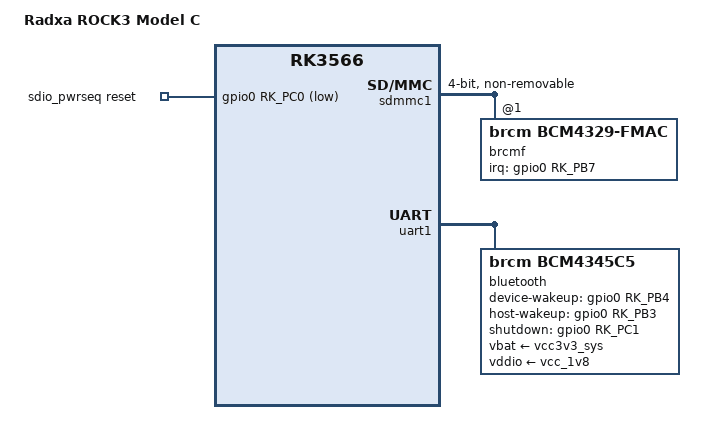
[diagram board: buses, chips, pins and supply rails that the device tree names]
// SPDX-License-Identifier: (GPL-2.0+ OR MIT)
/*
 * Copyright (c) 2020 Rockchip Electronics Co., Ltd.
 * Copyright (c) 2022 Radxa Computer (Shenzhen) Co., Ltd.
 *
 */

/dts-v1/;

#include "rk3566-rock-3c.dtsi"

/ {
	model = "Radxa ROCK3 Model C";
	compatible = "radxa,rock-3c-ap6256", "radxa,rock-3c", "rockchip,rk3566";

	sdio_pwrseq: sdio-pwrseq {
		compatible = "mmc-pwrseq-simple";
		clocks = <&rk809 1>;
		clock-names = "ext_clock";
		pinctrl-names = "default";
		pinctrl-0 = <&wifi_enable_h>;
		/*
		 * On the module itself this is one of these (depending
		 * on the actual card populated):
		 * - SDIO_RESET_L_WL_REG_ON
		 * - PDN (power down when low)
		 */
		reset-gpios = <&gpio0 RK_PC0 GPIO_ACTIVE_LOW>;
	};
};

&sdmmc1 {
	max-frequency = <100000000>;
	supports-sdio;
	bus-width = <4>;
	disable-wp;
	cap-sd-highspeed;
	cap-sdio-irq;
	keep-power-in-suspend;
	non-removable;
	rockchip,default-sample-phase=<90>;
	mmc-pwrseq = <&sdio_pwrseq>;
	non-removable;
	pinctrl-names = "default";
	pinctrl-0 = <&sdmmc1_bus4 &sdmmc1_cmd &sdmmc1_clk>;
	sd-uhs-sdr104;
	status = "okay";
	#address-cells = <1>;
	#size-cells = <0>;

	brcmf: wifi@1 {
		compatible = "brcm,bcm4329-fmac";
		reg = <1>;
		interrupt-parent = <&gpio0>;
		interrupts = <RK_PB7 IRQ_TYPE_LEVEL_HIGH>;
		interrupt-names = "host-wake";
		pinctrl-names = "default";
		pinctrl-0 = <&wifi_host_wake_l>;
	};
};

&uart1 {
	status = "okay";
	pinctrl-names = "default";
	pinctrl-0 = <&uart1m0_xfer &uart1m0_ctsn &uart1m0_rtsn>;

	bluetooth {
		compatible = "brcm,bcm4345c5";
		clocks = <&rk809 1>;
		clock-names = "lpo";
		device-wakeup-gpios = <&gpio0 RK_PB4 GPIO_ACTIVE_HIGH>;
		host-wakeup-gpios = <&gpio0 RK_PB3 GPIO_ACTIVE_HIGH>;
		shutdown-gpios = <&gpio0 RK_PC1 GPIO_ACTIVE_HIGH>;
		max-speed = <1500000>;
		pinctrl-names = "default";
		pinctrl-0 = <&bt_host_wake_l &bt_wake_l &bt_enable_h>;
		vbat-supply = <&vcc3v3_sys>;
		vddio-supply = <&vcc_1v8>;
	};
};

&pinctrl {
	wifi {
		wifi_enable_h: wifi-enable-h {
			rockchip,pins = <0 RK_PC0 RK_FUNC_GPIO &pcfg_pull_none>;
		};

		wifi_host_wake_l: wifi-host-wake-irq {
			rockchip,pins = <0 RK_PB7 RK_FUNC_GPIO &pcfg_pull_none>;
		};
	};

	bt {
		bt_enable_h: bt-enable-h {
			rockchip,pins = <0 RK_PC1 RK_FUNC_GPIO &pcfg_pull_none>;
		};

		bt_host_wake_l: bt-host-wake-l {
			rockchip,pins = <0 RK_PB3 RK_FUNC_GPIO &pcfg_pull_none>;
		};

		bt_wake_l: bt-wake-l {
			rockchip,pins = <0 RK_PB4 RK_FUNC_GPIO &pcfg_pull_none>;
		};
	};

};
